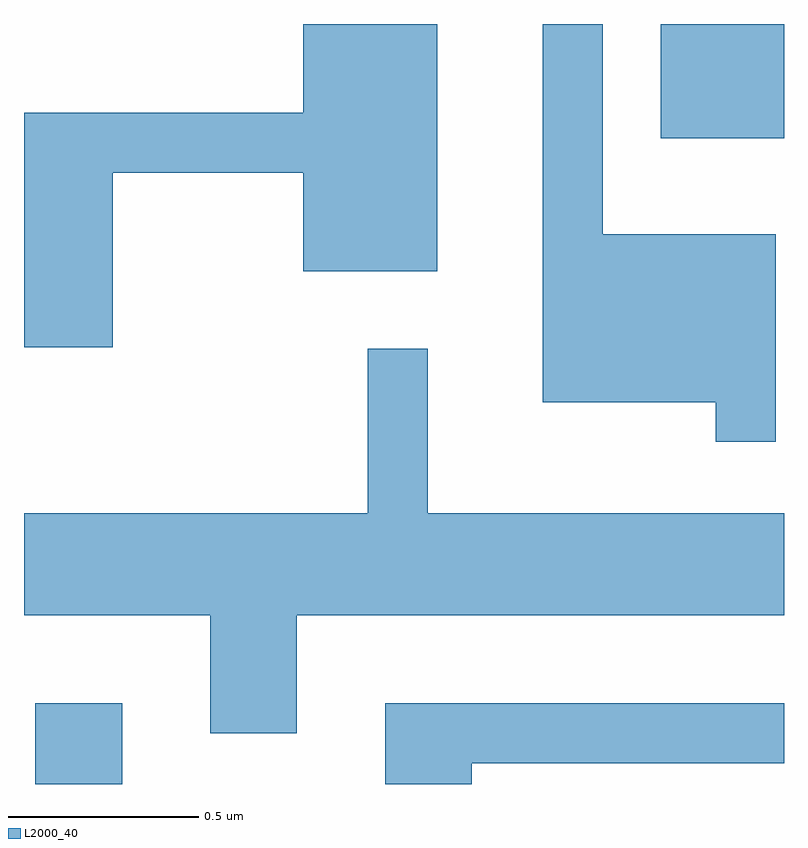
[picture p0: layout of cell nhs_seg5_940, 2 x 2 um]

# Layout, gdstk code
import gdstk
lib = gdstk.Library(unit=1e-6, precision=1e-09)
def R(c, l, rs):  # rectangles x0, y0, x1, y1
    for r in rs: c.add(gdstk.rectangle(r[:2], r[2:], *l))
def P(c, l, *ps):  # polygons
    for p in ps: c.add(gdstk.Polygon(p, *l))
L2000_40 = (2000, 40)

nhs_seg5_940 = lib.new_cell('nhs_seg5_940')
R(nhs_seg5_940, L2000_40, [(191.641,1514.072,191.869,1514.284), (193.286,1515.771,193.611,1516.072)])
P(nhs_seg5_940, L2000_40, [(193.589,1515.519),(193.134,1515.519),(193.134,1516.072),(192.976,1516.072),(192.976,1515.076),(193.431,1515.076),(193.431,1514.973),(193.589,1514.973)],
  [(191.844,1515.681),(192.346,1515.681),(192.346,1515.421),(192.699,1515.421),(192.699,1516.072),(192.346,1516.072),(192.346,1515.839),(191.611,1515.839),(191.611,1515.221),(191.844,1515.221)],
  [(192.329,1514.516),(193.611,1514.516),(193.611,1514.784),(192.674,1514.784),(192.674,1515.218),(192.516,1515.218),(192.516,1514.784),(191.611,1514.784),(191.611,1514.516),(192.101,1514.516),(192.101,1514.206),(192.329,1514.206)],
  [(192.789,1514.126),(193.611,1514.126),(193.611,1514.284),(192.561,1514.284),(192.561,1514.072),(192.789,1514.072)])

lib.write_gds('nhs_seg5_940.gds')
